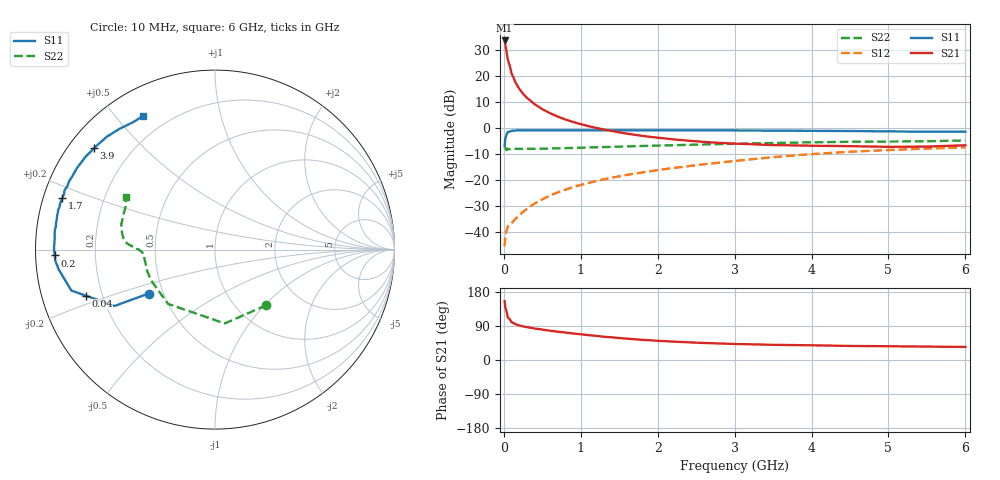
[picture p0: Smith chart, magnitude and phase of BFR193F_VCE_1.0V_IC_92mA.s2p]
! (c) 2017  Infineon Technologies AG, Munich
! Infineon Technologies  Discrete & RF Semiconductors
! BFR193F
! VCE =  1.0 V,  IC =  92 mA
! Common Emitter S-Parameters:  Jan 2017
# GHz  S  MA  R  50
!  f  S11  S21  S12  S22
! GHz  MAG  ANG  MAG  ANG  MAG  ANG  MAG  ANG
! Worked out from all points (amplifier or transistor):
!   77 points, 10 MHz to 6 GHz, reference 50 ohm
!   highest |S21| = 33.6 dB at 10 MHz (marker M1)
!   |S21| within 3 dB of that: start of sweep to 27.53 MHz
!   unconditionally stable (mu >= 1): start of sweep to 15.18 MHz; 189.9 MHz to end of sweep
!   at 130 MHz: K = 0.88, MSG = 27.4 dB, |S12| = -35.7 dB
!   at 2.2 GHz: K = 1.16, MAG = 3.1 dB, |S12| = -15.4 dB
!   at 6 GHz: K = 1.07, MAG = -1.2 dB, |S12| = -7.5 dB
!   S11 on the Smith chart (normalised r, x): 10 MHz: 0.41, -0.25; 40 MHz: 0.14, -0.17; 200 MHz: 0.06, -0.02; 1.7 GHz: 0.06, +0.16; 3.9 GHz: 0.07, +0.36; 6 GHz: 0.11, +0.59
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0.01  0.444 -146.5  48.1 155.5  0.0053 64.0  0.4219 -47.2
0.02  0.6418 -150.7  39.11 137.0  0.0084 51.7  0.415 -82.4
0.04  0.7647 -160.4  26.36 124.3  0.0112 43.4  0.373 -114.7
0.05  0.8324 -164.1  20.92 112.4  0.0126 40.6  0.3998 -130.8
0.1  0.8769 -172.6  11.13 99.7  0.0146 44.4  0.3956 -154.5
0.15  0.892 -176.0  7.538 94.6  0.0177 53.8  0.3962 -162.8
0.2  0.8937 -177.9  5.66 91.1  0.0208 56.4  0.3942 -166.9
0.25  0.8961 -179.6  4.537 88.7  0.0242 59.7  0.3945 -170.0
0.3  0.8971 179.3  3.79 86.7  0.0276 63.7  0.3961 -171.6
0.4  0.8954 177.3  2.844 83.0  0.0351 67.9  0.3964 -174.2
0.5  0.8957 175.8  2.286 80.2  0.0421 69.7  0.3976 -175.6
0.6  0.898 174.3  1.92 77.3  0.0499 71.7  0.4012 -176.8
0.7  0.8985 172.8  1.653 74.7  0.0573 72.9  0.4041 -177.4
0.9  0.8982 170.3  1.302 70.0  0.0725 73.9  0.4117 -178.7
1.1  0.8996 168.0  1.08 65.6  0.0874 73.9  0.4199 -179.4
1.7  0.8981 161.4  0.736 54.7  0.1318 72.9  0.4442 178.5
2.1  0.898 157.6  0.625 49.6  0.1614 71.8  0.4606 177.8
3.1  0.8914 148.3  0.492 41.9  0.239 67.4  0.4975 175.2
3.9  0.8793 140.1  0.457 39.0  0.3048 61.7  0.5242 170.3
4.1  0.876 137.9  0.452 38.5  0.3197 60.0  0.5297 168.6
5.1  0.854 127.1  0.433 36.1  0.38 51.4  0.5474 158.0
6  0.846 118.3  0.463 34.5  0.4223 45.0  0.5749 149.3
